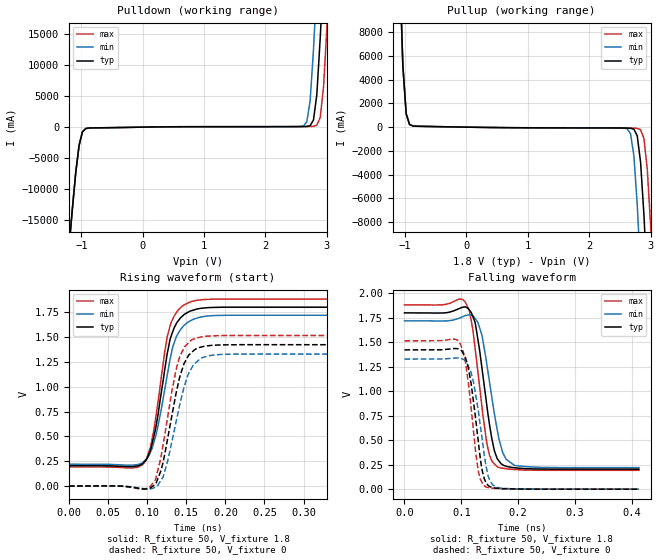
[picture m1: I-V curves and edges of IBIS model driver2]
| IBIS file invchain_stage4_tr10ps.ibs created by PYS2IBIS3
| Missouri S&T EMC Lab
[IBIS Ver] 7.1
[File Name] invchain_stage4_tr10ps.ibs
[File Rev] 1.0
[Date] Jul 27, 2026
[Source] inv_chain variant 'stage4' -- four stages, same final drive
[Notes] Parameter selection; sim_time=4.129e-10, tr=tf=1.000e-11.
[Component] invchain
[Manufacturer] s2ibispy study
[Package]
| variable   typ   min   max
R_pkg 0 NA NA
L_pkg 0H NA NA
C_pkg 0F NA NA
[Pin]  signal_name   model_name   R_pin   L_pin   C_pin
VSSQ   VSSQ   Gnd
VCCQ   VCCQ   Power
| IN IN dummy
PAD   PAD   driver2
| End of Component
| Models and submodels in the file (1): driver2 (Output)
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[Model] driver2
Model_type Output
Polarity Non-Inverting
Enable Active-High
Vinl  = 0.8V
Vinh  = 2V
C_comp 0.4680pF NA NA
[Temperature Range] 27.0000 27.0000 27.0000
[Voltage Range] 1.8000V 1.7000V 1.9000V
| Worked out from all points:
|   slope of the pulldown table from 0 to 0.27 V, typ, clamps not added: 6.79 ohm
|   slope of the pullup table from 0 to 0.27 V, typ, clamps not added: 12.6 ohm
|   rising waveform, R_fixture 50, V_fixture 1.8: 20-80 % time 20.1ps typ, 22.1ps min, 19.2ps max; typ from 0.204 V to 1.8 V
|   rising waveform, R_fixture 50, V_fixture 0: 20-80 % time 21.7ps typ, 23.3ps min, 20.6ps max; typ from 0 V to 1.42 V
|   falling waveform, R_fixture 50, V_fixture 1.8: 20-80 % time 22.9ps typ, 25.1ps min, 21.3ps max; typ from 1.8 V to 0.204 V
|   falling waveform, R_fixture 50, V_fixture 0: 20-80 % time 18.7ps typ, 20.2ps min, 17.6ps max; typ from 1.42 V to 0 V
[Pulldown]
| Voltage   I(typ)   I(min)   I(max)
-1.8V     -87.88A    -87.88A    -87.88A
-1.2V     -19.4A     -19.4A     -19.4A
-1.036V   -2.952A    -2.948A    -2.955A
-927.3mV  -221.8mA   -216.4mA   -227mA
2.618V    95.77mA    193.1mA    97.15mA
2.727V    244.8mA    4.224A     106.4mA
2.782V    1.151A     12.49A     132.5mA
2.836V    5.27A      23.04A     313.7mA
2.891V    14.25A     33.59A     1.533A
2.946V    24.81A     44.15A     6.464A
3V        35.36A     54.71A     16.02A
3.6V      151.5A     170.8A     132.1A
[Pullup]
| Voltage   I(typ)   I(min)   I(max)
-1.8V     151.4A     151.4A     151.4A
-1.091V   14.2A      14.19A     14.2A
-981.8mV  1.13A      1.129A     1.132A
-872.7mV  99.18mA    97.54mA    100.6mA
2.618V    -78.19mA   -142.5mA   -79.21mA
2.727V    -177.2mA   -2.408A    -86.52mA
2.782V    -728.3mA   -6.523A    -104.6mA
2.836V    -2.952A    -12.18A    -222.3mA
2.891V    -7.391A    -18.4A     -950.7mA
2.946V    -13.22A    -24.62A    -3.561A
3V        -19.44A    -30.85A    -8.297A
3.6V      -87.92A    -99.33A    -76.52A
[Ramp]
| variable   typ   min   max
dV/dt_r 0.8532/0.02169n 0.7968/0.02336n 0.9090/0.02051n
dV/dt_f 0.9575/0.02296n 0.8972/0.0247n 1.0171/0.0215n
R_load = 50
[Rising Waveform]
R_fixture = 50
V_fixture = 1.8
|time   V(typ)   V(min)   V(max)
0s        204.2mV    219.5mV    192.2mV
81.4ps    195.6mV    210.6mV    182.7mV
98.4ps    260.7mV    268.2mV    258.5mV
104.1ps   358.3mV    340.6mV    390.2mV
109.5ps   527.7mV    467.7mV    613.9mV
125.6ps   1.334V     1.12V      1.504V
136.8ps   1.627V     1.494V     1.741V
148.8ps   1.734V     1.629V     1.832V
184.3ps   1.798V     1.716V     1.881V
412.9ps   1.8V       1.719V     1.882V
[Rising Waveform]
R_fixture = 50
V_fixture = 0
|time   V(typ)   V(min)   V(max)
0s        13.08nV    12.76nV    13.48nV
104.1ps   -19.17mV   -28.74mV   -2.966mV
110.8ps   20.11mV    -9.838mV   71.23mV
120.3ps   240mV      89.85mV    409.3mV
131.8ps   722.1mV    452.2mV    967.3mV
141.3ps   1.088V     810.9mV    1.296V
152.5ps   1.311V     1.125V     1.44V
159.5ps   1.364V     1.222V     1.481V
193ps     1.42V      1.324V     1.514V
412.9ps   1.422V     1.328V     1.515V
[Falling Waveform]
R_fixture = 50
V_fixture = 1.8
|time   V(typ)   V(min)   V(max)
0s        1.8V       1.719V     1.882V
106.6ps   1.862V     1.771V     1.914V
120.3ps   1.764V     1.77V      1.634V
124.8ps   1.689V     1.739V     1.427V
136ps     1.259V     1.585V     863.5mV
149.6ps   665.2mV    1.095V     348.5mV
164.1ps   305.8mV    583.7mV    226mV
178.5ps   235.1mV    309.8mV    208mV
194.2ps   218mV      241.4mV    199.3mV
412.9ps   204.2mV    219.5mV    192.2mV
[Falling Waveform]
R_fixture = 50
V_fixture = 0
|time   V(typ)   V(min)   V(max)
0s        1.422V     1.328V     1.515V
96.3ps    1.43V      1.34V      1.506V
107.5ps   1.341V     1.308V     1.293V
120.3ps   950.3mV    1.124V     668.8mV
129.8ps   485.8mV    809.1mV    190mV
136ps     212.6mV    545.1mV    74.33mV
142.6ps   80.08mV    268.6mV    25.19mV
150.4ps   25.78mV    87.02mV    12.39mV
166.1ps   7.598mV    12.75mV    5.449mV
412.9ps   7.914nV    -139.3nV   57.8nV
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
